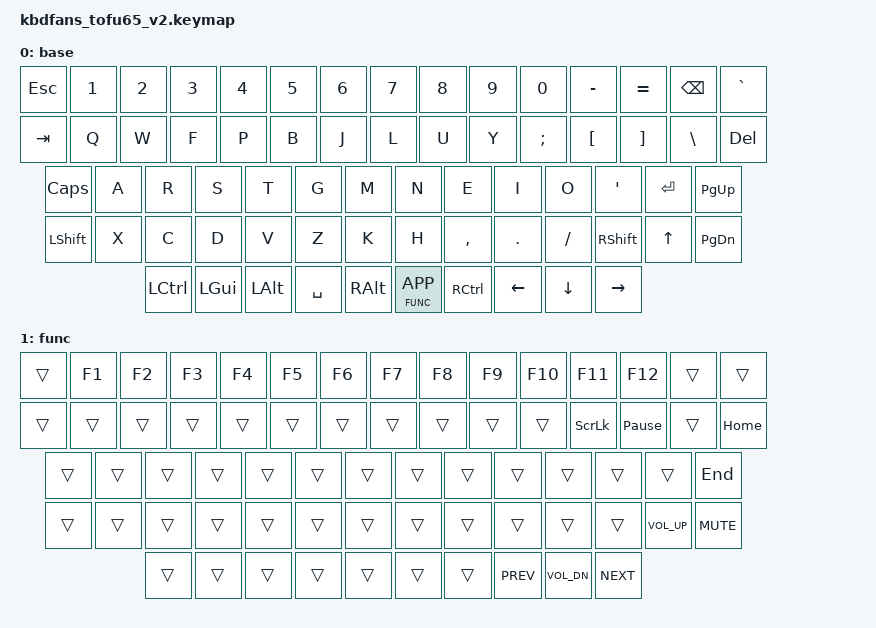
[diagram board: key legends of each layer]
#include <behaviors.dtsi>
#include <dt-bindings/zmk/keys.h>

#define BASE  0
#define FUNC  1

// --------- Key position numbers ---------
//
//     The Tofu65 2.0 is a 65% keyboard with a switch matrix of 5 rows and 15
// columns. Even so, not every row in the matrix has 15 switches. This means
// ZMK requies a transform to ensure the desired keycode is mapped to the
// correct switch. However, in the end ZMK does not work in terms of rows and
// columns. Instead it identifies the key positions sequencially, starting
// from zero. See below for an approximate representaion of the key number in
// relation to the physical keyboard.
//
//     In general simple keymaps do not require knowing the key postion, but
// some advanced behaviors do. For example, instead of having an entire layer
// for nothing but resetting the keyboard and accessing the bootloader,
// combos are configued to provide the same functions.
//
// ---------- Tofu65 2.0 key switch positions ----------
//
// -------------------------------------------------------------------------------------------------
// |  0  |  1  |  2  |  3  |  4  |  5  |  6  |  7  |  8  |  9  |  10  |  11  |  12  |   13   |  14 |
// -------------------------------------------------------------------------------------------------
// |  15    |  16 |  17 |  18 |  19 |  20 |  21 |  22 |  23 |  24 |  24 |  26 |  27 |   28   |  29 |
// -------------------------------------------------------------------------------------------------
// |  30     |  31 |  32 |  33 |  34 |  35 |  36 |  37 |  38 |  39 |  40 |  41  |     42     |  43 |
// -------------------------------------------------------------------------------------------------
// |     44     |  45 |  46 |  47 |  48 |  49 |  50 |  51 |  52 |  53 |  54 |    55   |  56  |  57 |
// -------------------------------------------------------------------------------------------------
// |   58  |   59  |   60  |                   61              |  62 |  63 |  64 |  65 |  66 |  67 |
// -------------------------------------------------------------------------------------------------


/ {
    // conditional_layers {
    //     compatible = "zmk,conditional-layers";
    //     util_layer {
    //         if-layers = <BASE FUNC>;
    //         then-layer = <UTIL>;
    //     };
    // };

    combos {
        compatible = "zmk,combos";

        // BACKSPACE + LCTRL + LALT = &sys_reset
        combo_bootloader {
            timeout-ms = <100>;
            key-positions = <13 58 60>;
            bindings = <&sys_reset>;
        };

        // RETURN + LCTRL + LALT +  = &bootloader
        combo_sys_reset {
            timeout-ms = <100>;
            key-positions = <42 58 60>;
            bindings = <&bootloader>;
        };
    };


    keymap {
        compatible = "zmk,keymap";

        base {

// --------- Colemak-dh Layout ---------
// Layer 0
// ---------------------------------------------------------------------------------------------------
// | ESC |  1  |  2  |  3  |  4  |  5  |  6  |  7  |  8  |  9  |  0  | -   |  =  |    BKSP   | GRAVE |
// ---------------------------------------------------------------------------------------------------
// | TAB    |  Q  |  W  |  F  |  P  |  B  |  J  |  L  |  U  |  Y  |  ;  |  [  |  ]   |   \   |  DEL  |
// ---------------------------------------------------------------------------------------------------
// | CAPS    |  A  |  R  |  S  |  T  |  G  |  M  |  N  |  E  |  I  |  O  |  '   |    ENTER   | PG_UP |
// --------------------------------------------------------------------------------------------------
// | LSHIFT     |  X  |  C  |  D  |  V  |  Z  |  K  |  H  |  ,  |  .  |  /  |    RSHFT |  ↑  | PG_DN |
// ---------------------------------------------------------------------------------------------------
// | LCTL | LGUI | LALT |                     SPACE         | RALT | FUNC | RCTL |  <- |  ↓  |  ->   |
// -------------------------------------------------------------------------------------------------
            bindings = <
&kp ESC  &kp N1  &kp N2  &kp N3  &kp N4  &kp N5  &kp N6  &kp N7  &kp N8  &kp N9  &kp N0  &kp MINUS &kp EQUAL  &kp BKSP   &kp GRAVE
&kp TAB   &kp Q   &kp W   &kp F   &kp P   &kp B   &kp J   &kp L   &kp U   &kp Y  &kp SEMI  &kp LBKT  &kp RBKT   &kp BSLH &kp DEL
&kp CLCK   &kp A   &kp R   &kp S   &kp T   &kp G   &kp M   &kp N   &kp E   &kp I  &kp O      &kp SQT      &kp ENTER      &kp PG_UP
&kp LSHFT   &kp X   &kp C   &kp D   &kp V   &kp Z   &kp K   &kp H   &kp COMMA &kp DOT &kp FSLH  &kp RSHFT     &kp UP     &kp PG_DN
&kp LCTRL   &kp LGUI    &kp LALT    &kp SPACE                &kp RALT  &lt FUNC K_APP  &kp RCTRL   &kp LEFT   &kp DOWN   &kp RIGHT
            >;
        };

        func {
// -------- Layout ---------
// Layer 1
// ---------------------------------------------------------------------------------------------------
// | ESC | F1  | F2  | F3  | F4  | F5  | F6  | F7  | F8  | F9  | F10 | F11 | F12 |    ---     | ---  |
// ---------------------------------------------------------------------------------------------------
// | ---    | -- | -- | -- | -- | -- | -- | -- | -- | -- | -- | scroll lock | pause |   ---   | HOME |
// ---------------------------------------------------------------------------------------------------
// | CAPS     |  -- |  -- |  -- |  -- |  -- |  -- |  -- |  -- |  -- |  -- |  -- |     ---     | END  |
// ---------------------------------------------------------------------------------------------------
// | LSHIFT     | -- | -- | -- | -- | -- | -- | -- | -- | -- | -- |      -----      | VOL UP  | MUTE |
// ---------------------------------------------------------------------------------------------------
// | ---- | TRANS | ---- |                  ----         |  -- | TRANS | -- | PREV  | VOL DN  | NEXT |
// ---------------------------------------------------------------------------------------------------
            bindings = <
&trans &kp F1  &kp F2  &kp F3  &kp F4  &kp F5  &kp F6  &kp F7  &kp F8  &kp F9  &kp F10  &kp F11  &kp F12   &trans        &trans
&trans  &trans   &trans   &trans   &trans   &trans   &trans   &trans   &trans   &trans   &trans   &kp SLCK  &kp PAUSE_BREAK  &trans  &kp HOME
&trans    &trans   &trans   &trans   &trans   &trans   &trans   &trans   &trans   &trans   &trans   &trans            &trans         &kp END
&trans      &trans   &trans   &trans   &trans   &trans   &trans   &trans   &trans     &trans   &trans        &trans   &kp C_VOL_UP  &kp C_MUTE
&trans     &trans    &trans               &trans                       &trans     &trans   &trans  &kp C_PREV   &kp C_VOL_DN  &kp C_NEXT
            >;
        };

//         UTIL {
// // -------- Layout ---------
// // Layer 2
// // ---------------------------------------------------------------------------------------------------
// // |  ESC  |  --  |  -- |  -- |  --  |  -- |  -- |  --  |  -- |  -- |  -- |  -- |   -- |   --   | -- |
// // ---------------------------------------------------------------------------------------------------
// // | ---   |  -- |  -- |  -- |  -- |  -- |  -- |  -- |  -- |  -- |  -- |  -- |  -- | bootloader | -- |
// // ---------------------------------------------------------------------------------------------------
// // | ---    |  -- |  -- |  -- |  -- |  -- |  -- |  -- |  -- |  -- |  -- |  -- |   sys_reset     | -- |
// // ---------------------------------------------------------------------------------------------------
// // | ---     |  -- |  -- |  -- |  -- |  -- |  -- |  -- |  -- |  -- |  -- |  -----  |   ---      | -- |
// // ---------------------------------------------------------------------------------------------------
// // | ---- | TRANS | ---- |                     ----                 | -- | TRANS | -- | -- | -- | -- |
// // ---------------------------------------------------------------------------------------------------
//             bindings = <
// &trans  &trans  &trans  &trans  &trans  &trans  &trans  &trans  &trans  &trans  &trans  &trans  &trans  &trans    &trans
// &trans     &trans  &trans  &trans  &trans  &trans  &trans  &trans  &trans  &trans  &trans  &trans  &trans  &bootloader  &trans
// &trans      &trans  &trans  &trans  &trans  &trans  &trans  &trans  &trans  &trans  &trans  &trans  &sys_reset        &trans
// &trans        &trans  &trans  &trans  &trans  &trans  &trans  &trans  &trans  &trans  &trans  &trans  &trans      &trans
// &trans   &trans   &trans                  &trans                      &trans  &trans  &trans  &trans  &trans  &trans
//             >;
//        };
    };
};
